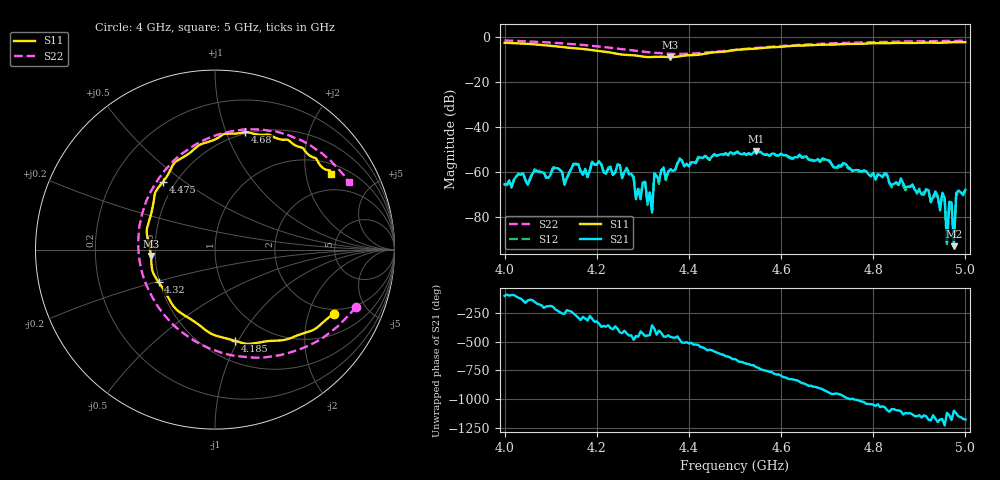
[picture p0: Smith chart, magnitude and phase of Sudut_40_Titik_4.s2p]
# Hz S RI R 50
! CMT, C1220, 16058040, 17.2.0/1
! Date: 15/08/2018 12:27:24
! Data: Format (Calibration Info)
! Freq  S11: Re/Im (F2)  S21: Re/Im (F2)  S12: Re/Im (F2)  S22: Re/Im (F2)
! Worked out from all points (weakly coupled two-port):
!   201 points, 4 GHz to 5 GHz, reference 50 ohm
!   highest |S21| = -50.72 dB at 4.545 GHz (marker M1); lowest = -92.9 dB at 4.975 GHz (marker M2)
!   lowest |S11| = -8.9 dB at 4.36 GHz (marker M3), VSWR 2.12, Z = 23.7 - j1.92 ohm
!   |S11| at or under -10 dB: nowhere
!   |S22| runs from -7.4 to -1.5 dB; largest |S21 - S12| = 0.00017
!   S11 on the Smith chart (normalised r, x): 4 GHz: 1.79, -2.95; 4.185 GHz: 0.70, -0.97; 4.32 GHz: 0.49, -0.20; 4.475 GHz: 0.43, +0.42; 4.68 GHz: 0.48, +1.17; 5 GHz: 1.35, +2.81
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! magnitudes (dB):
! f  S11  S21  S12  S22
! 4 GHz  -2.5  -65.4  -65.5  -1.5
! 4.17 GHz  -5.2  -61.2  -60.8  -3.5
! 4.185 GHz  -5.7  -59.2  -59.3  -3.7
! 4.265 GHz  -7.9  -58.4  -58.0  -5.6
! 4.285 GHz  -8.2  -72.1  -71.3  -6.1
! 4.305 GHz  -8.7  -64.6  -64.2  -6.5
! 4.32 GHz  -8.8  -78.0  -76.9  -6.9
! 4.325 GHz  -8.8  -60.5  -60.8  -6.9
! 4.335 GHz  -8.7  -63.9  -65.2  -7.1
! 4.36 GHz  -8.9  -58.9  -58.7  -7.4
! 4.475 GHz  -6.5  -52.1  -52.4  -6.1
! 4.5 GHz  -5.7  -51.6  -51.9  -5.6
! 4.545 GHz  -5.1  -50.7  -50.8  -4.8
! 4.67 GHz  -3.5  -54.8  -55.1  -3.1
! 4.68 GHz  -3.4  -54.2  -54.7  -3.0
! 4.835 GHz  -2.7  -64.7  -65.1  -2.0
! 4.935 GHz  -2.5  -68.6  -69.6  -1.7
! 4.945 GHz  -2.5  -77.0  -75.4  -1.7
! 4.95 GHz  -2.5  -69.2  -69.6  -1.7
! 4.975 GHz  -2.2  -92.9  -90.3  -1.6
! 4.98 GHz  -2.2  -69.4  -70.5  -1.6
! 5 GHz  -2.2  -67.9  -67.5  -1.6
